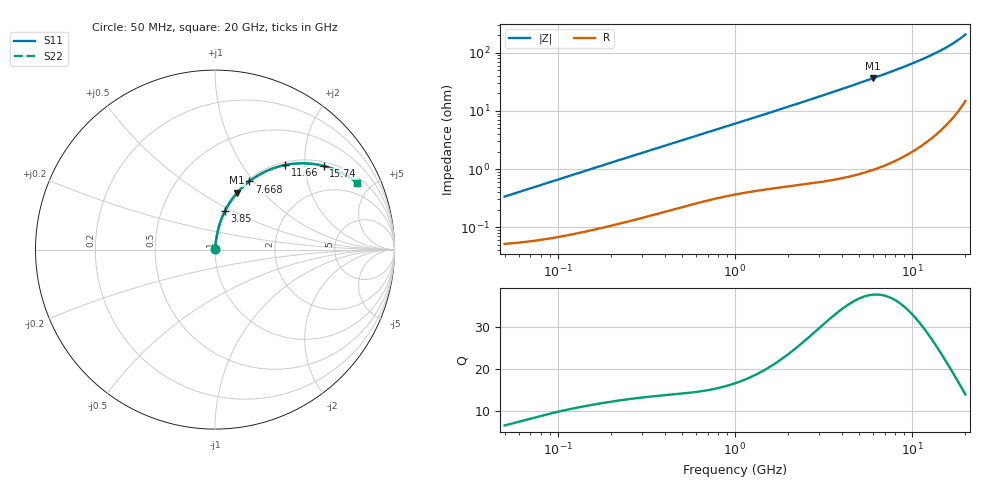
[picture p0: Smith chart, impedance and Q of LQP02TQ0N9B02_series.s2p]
!Murata Part Number: LQP02TQ0N9B02
!These Parameters are Measured in Series Mode Connection
!  o--[Z]--o
!Port1  Port2
!  o-------o
!Freq. Start=50[MHz] Stop=20[GHz], 401[Steps]
# Hz S RI R 50
!Freq.(Hz) S11(Real) S11(Imag) S21(Real) S21(Imag) S12(Real) S12(Imag) S22(Real) S22(Imag)
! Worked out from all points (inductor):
!   401 points, 50 MHz to 20 GHz, reference 50 ohm
!   read as one part in series: L = 1.05 nH near 51.52 MHz
!   highest Q = 37.6 at 6.034 GHz (marker M1), where L = 962 pH
!   S11 on the Smith chart (normalised r, x): 50 MHz: 1.00, +0.01; 3.85 GHz: 1.01, +0.46; 7.668 GHz: 1.03, +0.95; 11.66 GHz: 1.05, +1.59; 15.74 GHz: 1.12, +2.50; 20 GHz: 1.30, +4.10
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5e7  0.000527 0.00332  0.9995 -0.00332  0.9995 -0.00332  0.000527 0.00332
5.152053e7  0.000532 0.00342  0.9995 -0.00342  0.9995 -0.00342  0.000532 0.00342
1.364002e8  0.000894 0.00887  0.9991 -0.00887  0.9991 -0.00887  0.000894 0.00887
3.721004e8  0.00227 0.0233  0.9977 -0.0233  0.9977 -0.0233  0.00227 0.0233
6.380365e8  0.00419 0.0388  0.9958 -0.0388  0.9958 -0.0388  0.00419 0.0388
1e9  0.00719 0.0594  0.9928 -0.0594  0.9928 -0.0594  0.00719 0.0594
1.714689e9  0.0147 0.0994  0.9853 -0.0994  0.9853 -0.0994  0.0147 0.0994
2.728004e9  0.0304 0.1548  0.9696 -0.1548  0.9696 -0.1548  0.0304 0.1548
3.850025e9  0.055 0.2136  0.945 -0.2136  0.945 -0.2136  0.055 0.2136
4.89267e9  0.0846 0.265  0.9154 -0.265  0.9154 -0.265  0.0846 0.265
6.034176e9  0.1239 0.3164  0.8761 -0.3164  0.8761 -0.3164  0.1239 0.3164
7.442007e9  0.1809 0.3717  0.8191 -0.3717  0.8191 -0.3717  0.1809 0.3717
7.668323e9  0.1908 0.3796  0.8092 -0.3796  0.8092 -0.3796  0.1908 0.3796
8.516016e9  0.2297 0.4069  0.7703 -0.4069  0.7703 -0.4069  0.2297 0.4069
9.457416e9  0.2756 0.4323  0.7244 -0.4323  0.7244 -0.4323  0.2756 0.4323
1.050288e10  0.329 0.4545  0.671 -0.4545  0.671 -0.4545  0.329 0.4545
1.166392e10  0.3903 0.4712  0.6097 -0.4712  0.6097 -0.4712  0.3903 0.4712
1.375312e10  0.5021 0.4806  0.4979 -0.4806  0.4979 -0.4806  0.5021 0.4806
1.573793e10  0.6048 0.466  0.3952 -0.466  0.3952 -0.466  0.6048 0.466
1.747767e10  0.688 0.4365  0.312 -0.4365  0.312 -0.4365  0.688 0.4365
1.940974e10  0.7695 0.3887  0.2305 -0.3887  0.2305 -0.3887  0.7695 0.3887
2e10  0.7918 0.3715  0.2082 -0.3715  0.2082 -0.3715  0.7918 0.3715
